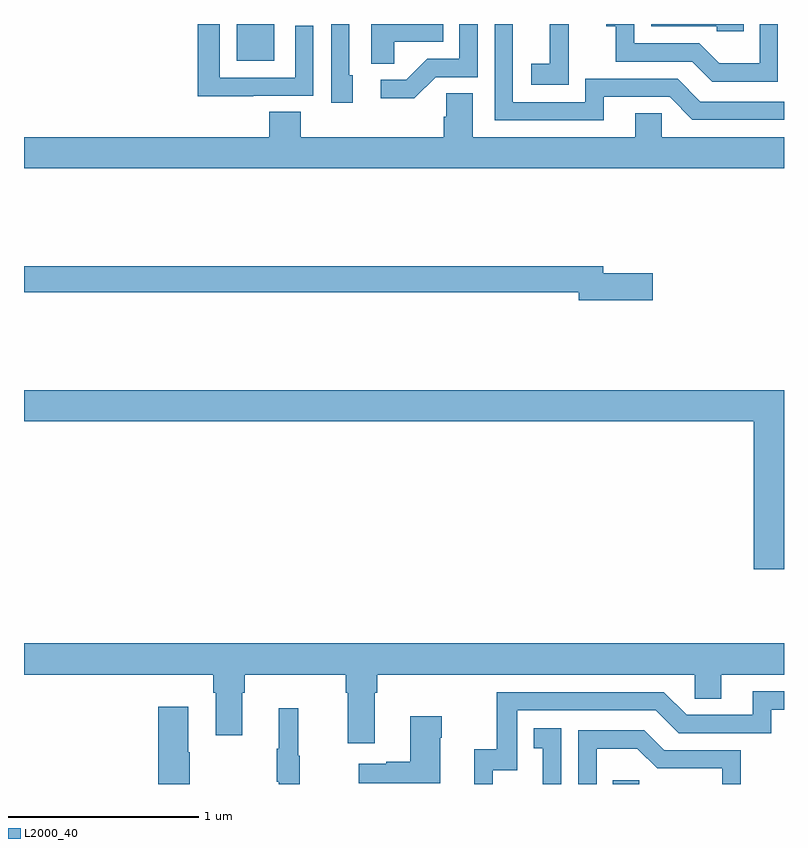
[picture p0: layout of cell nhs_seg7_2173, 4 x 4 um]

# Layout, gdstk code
import gdstk
lib = gdstk.Library(unit=1e-6, precision=1e-09)
def R(c, l, rs):  # rectangles x0, y0, x1, y1
    for r in rs: c.add(gdstk.rectangle(r[:2], r[2:], *l))
def P(c, l, *ps):  # polygons
    for p in ps: c.add(gdstk.Polygon(p, *l))
L2000_40 = (2000, 40)

nhs_seg7_2173 = lib.new_cell('nhs_seg7_2173')
R(nhs_seg7_2173, L2000_40, [(256.099,1040,256.239,1040.019), (254.12,1043.807,254.317,1044)])
P(nhs_seg7_2173, L2000_40, [(255.168,1043.721),(255.387,1043.721),(255.387,1044),(255.291,1044),(255.291,1043.817),(255.122,1043.817),(255.011,1043.706),(254.877,1043.706),(254.877,1043.609),(255.055,1043.609)],
  [(254.731,1043.73),(254.712,1043.73),(254.712,1044),(254.616,1044),(254.616,1043.586),(254.731,1043.586)],
  [(256.968,1044),(256.872,1044),(256.872,1043.794),(256.658,1043.794),(256.554,1043.898),(256.212,1043.898),(256.212,1044),(256.065,1044),(256.065,1043.987),(256.114,1043.987),(256.114,1043.802),(256.517,1043.802),(256.622,1043.697),(256.968,1043.697)],
  [(256.051,1043.616),(256.398,1043.616),(256.518,1043.496),(257,1043.496),(257,1043.592),(256.56,1043.592),(256.44,1043.712),(255.954,1043.712),(255.954,1043.589),(255.573,1043.589),(255.573,1044),(255.477,1044),(255.477,1043.493),(256.051,1043.493)],
  [(254.207,1043.622),(254.523,1043.622),(254.523,1043.992),(254.427,1043.992),(254.427,1043.718),(254.031,1043.718),(254.031,1044),(253.915,1044),(253.915,1043.621),(254.207,1043.621)],
  [(255.867,1043.887),(255.866,1043.887),(255.866,1044),(255.767,1044),(255.767,1043.791),(255.669,1043.791),(255.669,1043.681),(255.867,1043.681)],
  [(256.787,1044),(256.302,1044),(256.302,1043.988),(256.647,1043.988),(256.647,1043.961),(256.787,1043.961)],
  [(254.949,1043.906),(255.206,1043.906),(255.206,1044),(254.828,1044),(254.828,1043.791),(254.949,1043.791)],
  [(257,1043.404),(256.356,1043.404),(256.356,1043.531),(256.217,1043.531),(256.217,1043.404),(255.361,1043.404),(255.361,1043.636),(255.222,1043.636),(255.222,1043.513),(255.209,1043.513),(255.209,1043.404),(254.456,1043.404),(254.456,1043.537),(254.291,1043.537),(254.291,1043.404),(253,1043.404),(253,1043.24),(257,1043.24)],
  [(256.309,1042.688),(256.048,1042.688),(256.048,1042.724),(253,1042.724),(253,1042.588),(255.92,1042.588),(255.92,1042.546),(256.309,1042.546)],
  [(257,1042.072),(253,1042.072),(253,1041.908),(256.841,1041.908),(256.841,1041.129),(257,1041.129)],
  [(254.845,1040.48),(254.858,1040.48),(254.858,1040.576),(256.53,1040.576),(256.53,1040.449),(256.669,1040.449),(256.669,1040.576),(257,1040.576),(257,1040.74),(253,1040.74),(253,1040.576),(253.997,1040.576),(253.997,1040.48),(254.009,1040.48),(254.009,1040.256),(254.149,1040.256),(254.149,1040.48),(254.162,1040.48),(254.162,1040.576),(254.693,1040.576),(254.693,1040.48),(254.705,1040.48),(254.705,1040.214),(254.845,1040.214)],
  [(255.468,1040.073),(255.597,1040.073),(255.597,1040.388),(256.326,1040.388),(256.446,1040.268),(256.932,1040.268),(256.932,1040.391),(257,1040.391),(257,1040.487),(256.835,1040.487),(256.835,1040.364),(256.488,1040.364),(256.368,1040.484),(255.489,1040.484),(255.489,1040.182),(255.371,1040.182),(255.371,1040),(255.468,1040)],
  [(253.872,1040.168),(253.864,1040.168),(253.864,1040.407),(253.706,1040.407),(253.706,1040),(253.872,1040)],
  [(254.452,1040.148),(254.444,1040.148),(254.444,1040.398),(254.342,1040.398),(254.342,1040.185),(254.331,1040.185),(254.331,1040.011),(254.342,1040.011),(254.342,1040),(254.452,1040)],
  [(255.19,1040.243),(255.198,1040.243),(255.198,1040.356),(255.032,1040.356),(255.032,1040.117),(254.906,1040.117),(254.906,1040.107),(254.763,1040.107),(254.763,1040.003),(255.19,1040.003)],
  [(255.828,1040.293),(255.682,1040.293),(255.682,1040.187),(255.731,1040.187),(255.731,1040),(255.828,1040)],
  [(256.014,1040.186),(256.228,1040.186),(256.332,1040.082),(256.674,1040.082),(256.674,1040),(256.773,1040),(256.773,1040.178),(256.369,1040.178),(256.264,1040.283),(255.918,1040.283),(255.918,1040),(256.014,1040)])

lib.write_gds('nhs_seg7_2173.gds')
